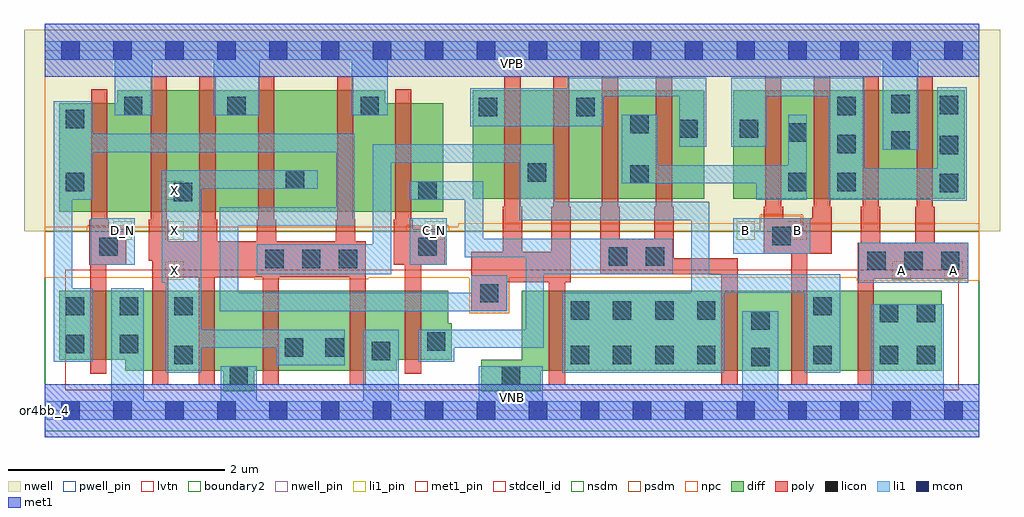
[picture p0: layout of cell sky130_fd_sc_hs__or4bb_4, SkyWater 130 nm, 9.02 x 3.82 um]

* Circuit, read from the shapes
.subckt sky130_fd_sc_hs__or4bb_4 A B C_N D_N VGND VNB VPB VPWR X
XM1 VGND D_N n1 VNB sky130_fd_pr__nfet_01v8_lvt w=0.64 l=0.15
XM2 X n2 VGND VNB sky130_fd_pr__nfet_01v8_lvt w=0.74 l=0.15 m=4
XM3 n3 C_N VGND VNB sky130_fd_pr__nfet_01v8_lvt w=0.64 l=0.15
XM4 n2 n1 VGND VNB sky130_fd_pr__nfet_01v8_lvt w=0.74 l=0.15
XM5 VGND n3 n2 VNB sky130_fd_pr__nfet_01v8_lvt w=0.74 l=0.15
XM6 n2 B VGND VNB sky130_fd_pr__nfet_01v8_lvt w=0.74 l=0.15
XM7 VGND A n2 VNB sky130_fd_pr__nfet_01v8_lvt w=0.74 l=0.15
XM8 VPWR D_N n1 VPB sky130_fd_pr__pfet_01v8 w=1 l=0.15
XM9 X n2 VPWR VPB sky130_fd_pr__pfet_01v8 w=1.12 l=0.15 m=4
XM10 n3 C_N VPWR VPB sky130_fd_pr__pfet_01v8 w=1 l=0.15
XM11 n2 n1 n4 VPB sky130_fd_pr__pfet_01v8 w=1 l=0.15 m=2
XM12 n5 n3 n4 VPB sky130_fd_pr__pfet_01v8 w=1 l=0.15 m=2
XM13 n5 B n6 VPB sky130_fd_pr__pfet_01v8 w=1 l=0.15 m=2
XM14 VPWR A n6 VPB sky130_fd_pr__pfet_01v8 w=1 l=0.15 m=2
.ends

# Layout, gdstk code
import gdstk
lib = gdstk.Library(unit=1e-6, precision=1e-09)
def R(c, l, rs):  # rectangles x0, y0, x1, y1
    for r in rs: c.add(gdstk.rectangle(r[:2], r[2:], *l))
def A(c, l, x, y, w, h, nx, ny, dx, dy):  # array of equal rectangles
    R(c, l, [(x+i*dx, y+j*dy, x+i*dx+w, y+j*dy+h) for i in range(nx) for j in range(ny)])
def P(c, l, *ps):  # polygons
    for p in ps: c.add(gdstk.Polygon(p, *l))
nwell_pin = (64, 16)
nwell = (64, 20)
diff = (65, 20)
poly = (66, 20)
licon = (66, 44)
li1_pin = (67, 16)
li1 = (67, 20)
mcon = (67, 44)
met1_pin = (68, 16)
met1 = (68, 20)
stdcell_id = (81, 4)
nsdm = (93, 44)
psdm = (94, 20)
npc = (95, 20)
pwell_pin = (122, 16)
lvtn = (125, 44)
boundary2 = (236, 0)

sky130_fd_sc_hs__or4bb_4 = lib.new_cell('sky130_fd_sc_hs__or4bb_4')
R(sky130_fd_sc_hs__or4bb_4, nwell_pin, [(0,3.085,8.64,3.33)])
R(sky130_fd_sc_hs__or4bb_4, nwell, [(-0.19,1.66,8.83,3.52)])
R(sky130_fd_sc_hs__or4bb_4, diff, [(3.955,1.96,6.095,2.96), (6.365,1.96,8.505,2.96)])
P(sky130_fd_sc_hs__or4bb_4, diff, [(3.685,2.84),(3.15,2.84),(3.15,2.96),(0.67,2.96),(0.67,2.84),(0.135,2.84),(0.135,1.84),(3.685,1.84)],
  [(3.765,0.81),(3.73,0.81),(3.73,1.11),(0.135,1.11),(0.135,0.47),(0.745,0.47),(0.745,0.37),(1.65,0.37),(1.65,0.18),(1.94,0.18),(1.94,0.37),(3.255,0.37),(3.255,0.47),(3.765,0.47)],
  [(8.29,1.11),(4.41,1.11),(4.41,0.47),(4.035,0.47),(4.035,0.18),(4.585,0.18),(4.585,0.37),(8.29,0.37)])
P(sky130_fd_sc_hs__or4bb_4, poly, [(8.535,1.55),(8.225,1.55),(8.225,1.885),(8.21,1.885),(8.21,3.09),(8.06,3.09),(8.06,1.885),(8.045,1.885),(8.045,1.55),(7.725,1.55),(7.725,1.885),(7.71,1.885),(7.71,3.09),(7.56,3.09),(7.56,1.885),(7.545,1.885),(7.545,1.55),(7.515,1.55),(7.515,0.24),(7.665,0.24),(7.665,1.22),(8.535,1.22)],
  [(7.275,1.885),(7.26,1.885),(7.26,3.09),(7.11,3.09),(7.11,1.885),(7.095,1.885),(7.095,1.78),(6.825,1.78),(6.825,1.885),(6.81,1.885),(6.81,3.09),(6.66,3.09),(6.66,1.885),(6.645,1.885),(6.645,1.45),(6.9,1.45),(6.9,0.24),(7.05,0.24),(7.05,1.45),(7.275,1.45)],
  [(6.405,1.41),(5.815,1.41),(5.815,1.885),(5.8,1.885),(5.8,3.09),(5.65,3.09),(5.65,1.885),(5.635,1.885),(5.635,1.59),(5.315,1.59),(5.315,1.885),(5.3,1.885),(5.3,3.09),(5.15,3.09),(5.15,1.885),(5.135,1.885),(5.135,1.26),(6.255,1.26),(6.255,0.24),(6.405,0.24)],
  [(4.865,1.885),(4.85,1.885),(4.85,3.09),(4.7,3.09),(4.7,1.885),(4.685,1.885),(4.685,1.47),(4.415,1.47),(4.415,1.885),(4.4,1.885),(4.4,3.09),(4.25,3.09),(4.25,1.885),(4.235,1.885),(4.235,1.47),(3.945,1.47),(3.945,0.92),(4.275,0.92),(4.275,1.185),(4.66,1.185),(4.66,0.24),(4.81,0.24),(4.81,1.185),(4.865,1.185)],
  [(3.705,1.68),(3.405,1.68),(3.405,1.765),(3.39,1.765),(3.39,2.97),(3.24,2.97),(3.24,1.765),(3.225,1.765),(3.225,1.35),(3.33,1.35),(3.33,0.34),(3.48,0.34),(3.48,1.35),(3.705,1.35)],
  [(2.97,1.565),(2.87,1.565),(2.87,1.765),(2.855,1.765),(2.855,3.09),(2.705,3.09),(2.705,1.765),(2.69,1.765),(2.69,1.565),(2.14,1.565),(2.14,1.765),(2.125,1.765),(2.125,3.09),(1.975,3.09),(1.975,1.765),(1.96,1.765),(1.96,1.565),(1.595,1.565),(1.595,1.765),(1.58,1.765),(1.58,3.09),(1.43,3.09),(1.43,1.765),(1.415,1.765),(1.415,1.565),(1.145,1.565),(1.145,1.765),(1.13,1.765),(1.13,3.09),(0.98,3.09),(0.98,1.765),(0.965,1.765),(0.965,1.385),(0.995,1.385),(0.995,0.24),(1.145,0.24),(1.145,1.235),(1.425,1.235),(1.425,0.24),(1.575,0.24),(1.575,1.235),(2.015,1.235),(2.015,0.24),(2.165,0.24),(2.165,1.235),(2.82,1.235),(2.82,0.24),(2.97,0.24)],
  [(0.755,1.68),(0.595,1.68),(0.595,1.765),(0.58,1.765),(0.58,2.97),(0.43,2.97),(0.43,1.765),(0.415,1.765),(0.415,1.35),(0.42,1.35),(0.42,0.34),(0.57,0.34),(0.57,1.35),(0.755,1.35)])
A(sky130_fd_sc_hs__or4bb_4, licon, 7.605, 1.3, 0.17, 0.17, 3, 1, 0.34, 0)
A(sky130_fd_sc_hs__or4bb_4, licon, 2.04, 1.315, 0.17, 0.17, 3, 1, 0.34, 0)
A(sky130_fd_sc_hs__or4bb_4, licon, 7.325, 2.03, 0.17, 0.17, 1, 3, 0, 0.35)
R(sky130_fd_sc_hs__or4bb_4, licon, [(1.71,0.24,1.88,0.41), (4.225,0.24,4.395,0.41), (6.53,0.41,6.7,0.58), (1.2,0.43,1.37,0.6), (4.865,0.43,5.035,0.6), (5.25,0.43,5.42,0.6), (5.645,0.43,5.815,0.6), (6.03,0.43,6.2,0.6), (7.105,0.43,7.275,0.6), (7.72,0.43,7.89,0.6), (8.06,0.43,8.23,0.6), (3.025,0.465,3.195,0.635), (2.22,0.5,2.39,0.67), (2.595,0.5,2.765,0.67), (0.195,0.53,0.365,0.7), (0.695,0.53,0.865,0.7), (3.535,0.555,3.705,0.725), (6.53,0.75,6.7,0.92), (7.72,0.815,7.89,0.985), (8.06,0.815,8.23,0.985), (4.865,0.84,5.035,1.01), (5.25,0.84,5.42,1.01), (5.645,0.84,5.815,1.01), (6.03,0.84,6.2,1.01), (0.195,0.88,0.365,1.05), (0.695,0.88,0.865,1.05), (1.2,0.88,1.37,1.05), (7.105,0.88,7.275,1.05), (4.025,1,4.195,1.17), (5.215,1.34,5.385,1.51), (5.555,1.34,5.725,1.51), (0.505,1.43,0.675,1.6), (3.455,1.43,3.625,1.6), (6.725,1.53,6.895,1.7), (1.195,1.935,1.365,2.105), (3.455,1.95,3.625,2.12), (8.275,2.02,8.445,2.19), (0.195,2.03,0.365,2.2), (6.875,2.03,7.045,2.2), (2.23,2.05,2.4,2.22), (5.415,2.1,5.585,2.27), (4.465,2.115,4.635,2.285), (8.275,2.37,8.445,2.54), (7.825,2.41,7.995,2.58), (6.875,2.485,7.045,2.655), (5.865,2.52,6.035,2.69), (6.425,2.52,6.595,2.69), (5.415,2.565,5.585,2.735), (0.195,2.61,0.365,2.78), (4.015,2.72,4.185,2.89), (4.915,2.72,5.085,2.89), (0.735,2.73,0.905,2.9), (1.69,2.73,1.86,2.9), (2.92,2.73,3.09,2.9), (8.275,2.74,8.445,2.91), (7.825,2.75,7.995,2.92)])
A(sky130_fd_sc_hs__or4bb_4, li1_pin, 1.115, 1.21, 0.17, 0.17, 1, 3, 0, 0.37)
R(sky130_fd_sc_hs__or4bb_4, li1_pin, [(7.835,1.21,8.005,1.38), (8.315,1.21,8.485,1.38), (0.635,1.58,0.805,1.75), (3.515,1.58,3.685,1.75), (6.395,1.58,6.565,1.75), (6.875,1.58,7.045,1.75)])
R(sky130_fd_sc_hs__or4bb_4, li1, [(7.525,1.18,8.535,1.55), (0.425,1.35,0.835,1.78), (3.375,1.35,3.715,1.78), (6.365,1.45,7.075,1.78), (8.25,2.195,8.525,2.99)])
P(sky130_fd_sc_hs__or4bb_4, li1, [(7.745,2.41),(7.745,3.245),(3.17,3.245),(3.17,2.73),(2.84,2.73),(2.84,3.245),(1.99,3.245),(1.99,2.73),(1.565,2.73),(1.565,3.245),(0.995,3.245),(0.995,2.73),(0.65,2.73),(0.65,3.245),(0,3.245),(0,3.415),(8.64,3.415),(8.64,3.245),(8.075,3.245),(8.075,2.41)],
  [(0.615,0.085),(0.615,1.13),(0.915,1.13),(0.915,0.085),(1.63,0.085),(1.63,0.41),(1.96,0.41),(1.96,0.085),(2.945,0.085),(2.945,0.75),(3.275,0.75),(3.275,0.085),(4.015,0.085),(4.015,0.41),(4.605,0.41),(4.605,0.085),(6.45,0.085),(6.45,0.92),(6.78,0.92),(6.78,0.085),(7.64,0.085),(7.64,0.985),(8.31,0.985),(8.31,0.085),(8.64,0.085),(8.64,-0.085),(0,-0.085),(0,0.085)],
  [(1.085,1.18),(1.085,2.22),(2.525,2.22),(2.525,2.05),(1.45,2.05),(1.45,0.75),(2.775,0.75),(2.775,0.42),(2.14,0.42),(2.14,0.58),(1.45,0.58),(1.45,0.35),(1.12,0.35),(1.12,1.18)],
  [(3.885,1.42),(3.885,1.95),(3.375,1.95),(3.375,2.12),(4.055,2.12),(4.055,1.59),(5.805,1.59),(5.805,1.26),(4.615,1.26),(4.615,0.58),(3.785,0.58),(3.785,0.45),(3.455,0.45),(3.455,0.75),(4.445,0.75),(4.445,1.42)],
  [(4.715,2.46),(4.715,1.93),(6.145,1.93),(6.145,1.26),(7.355,1.26),(7.355,0.35),(7.025,0.35),(7.025,1.09),(6.28,1.09),(6.28,0.35),(4.785,0.35),(4.785,1.09),(5.975,1.09),(5.975,1.76),(4.385,1.76),(4.385,2.29),(3.205,2.29),(3.205,1.26),(1.96,1.26),(1.96,1.54),(3.035,1.54),(3.035,2.46)],
  [(0.085,0.45),(0.085,2.86),(0.445,2.86),(0.445,2.56),(2.865,2.56),(2.865,1.71),(1.79,1.71),(1.79,1.09),(3.945,1.09),(3.945,1.25),(4.275,1.25),(4.275,0.92),(1.62,0.92),(1.62,1.88),(2.695,1.88),(2.695,2.39),(0.445,2.39),(0.445,1.95),(0.255,1.95),(0.255,1.13),(0.445,1.13),(0.445,0.45)],
  [(6.575,1.95),(6.575,2.1),(5.335,2.1),(5.335,2.735),(5.665,2.735),(5.665,2.27),(6.875,2.27),(6.875,2.735),(7.045,2.735),(7.045,1.95)],
  [(7.245,1.95),(7.245,2.905),(6.675,2.905),(6.675,2.44),(6.345,2.44),(6.345,3.075),(7.575,3.075),(7.575,2.24),(8.525,2.24),(8.525,1.94),(8.195,1.94),(8.195,1.95)],
  [(4.835,2.98),(4.835,3.075),(6.115,3.075),(6.115,2.44),(5.865,2.44),(5.865,2.905),(5.165,2.905),(5.165,2.63),(3.935,2.63),(3.935,2.98)])
A(sky130_fd_sc_hs__or4bb_4, mcon, 0.155, -0.085, 0.17, 0.17, 18, 2, 0.48, 3.33)
R(sky130_fd_sc_hs__or4bb_4, met1_pin, [(0,0,8.64,0.245), (0,3.085,8.64,3.33)])
R(sky130_fd_sc_hs__or4bb_4, met1, [(0,-0.245,8.64,0.245), (0,3.085,8.64,3.575)])
R(sky130_fd_sc_hs__or4bb_4, stdcell_id, [(0,0,8.64,3.33)])
R(sky130_fd_sc_hs__or4bb_4, nsdm, [(0,-0.19,8.64,1.66)])
P(sky130_fd_sc_hs__or4bb_4, psdm, [(8.64,3.52),(0,3.52),(0,1.66),(0.395,1.66),(0.395,1.71),(0.785,1.71),(0.785,1.66),(3.345,1.66),(3.345,1.71),(3.735,1.71),(3.735,1.66),(6.615,1.66),(6.615,1.81),(7.005,1.81),(7.005,1.66),(8.64,1.66)])
P(sky130_fd_sc_hs__or4bb_4, npc, [(8.64,1.73),(6.995,1.73),(6.995,1.8),(6.625,1.8),(6.625,1.73),(3.825,1.73),(3.825,1.7),(0,1.7),(0,1.23),(1.94,1.23),(1.94,1.215),(2.99,1.215),(2.99,1.23),(3.925,1.23),(3.925,0.9),(4.295,0.9),(4.295,1.23),(7.505,1.23),(7.505,1.2),(8.64,1.2)])
R(sky130_fd_sc_hs__or4bb_4, pwell_pin, [(0,0,8.64,0.245)])
R(sky130_fd_sc_hs__or4bb_4, lvtn, [(0.19,0.19,8.45,1.3)])
R(sky130_fd_sc_hs__or4bb_4, boundary2, [(0,0,8.64,3.33)])
sky130_fd_sc_hs__or4bb_4.add(gdstk.Label('or4bb_4', (0,0), layer=83, texttype=44))
sky130_fd_sc_hs__or4bb_4.add(gdstk.Label('VNB', (4.32,0.123), layer=64, texttype=59))
sky130_fd_sc_hs__or4bb_4.add(gdstk.Label('VPB', (4.32,3.208), layer=64, texttype=5))
sky130_fd_sc_hs__or4bb_4.add(gdstk.Label('VPWR', (4.32,3.208), layer=68, texttype=5))
sky130_fd_sc_hs__or4bb_4.add(gdstk.Label('VGND', (4.32,0.123), layer=68, texttype=5))
sky130_fd_sc_hs__or4bb_4.add(gdstk.Label('D_N', (0.72,1.665), layer=67, texttype=5))
sky130_fd_sc_hs__or4bb_4.add(gdstk.Label('C_N', (3.6,1.665), layer=67, texttype=5))
sky130_fd_sc_hs__or4bb_4.add(gdstk.Label('A', (7.92,1.295), layer=67, texttype=5))
sky130_fd_sc_hs__or4bb_4.add(gdstk.Label('A', (8.4,1.295), layer=67, texttype=5))
sky130_fd_sc_hs__or4bb_4.add(gdstk.Label('X', (1.2,1.295), layer=67, texttype=5))
sky130_fd_sc_hs__or4bb_4.add(gdstk.Label('X', (1.2,1.665), layer=67, texttype=5))
sky130_fd_sc_hs__or4bb_4.add(gdstk.Label('X', (1.2,2.035), layer=67, texttype=5))
sky130_fd_sc_hs__or4bb_4.add(gdstk.Label('B', (6.48,1.665), layer=67, texttype=5))
sky130_fd_sc_hs__or4bb_4.add(gdstk.Label('B', (6.96,1.665), layer=67, texttype=5))

lib.write_gds('sky130_fd_sc_hs__or4bb_4.gds')
